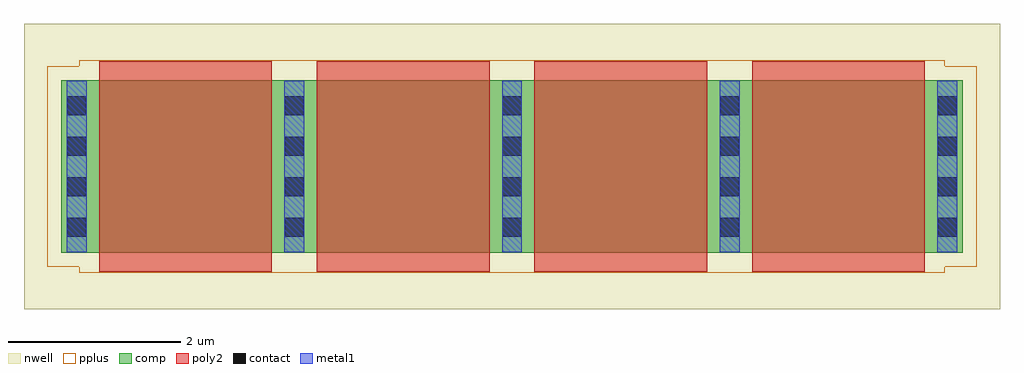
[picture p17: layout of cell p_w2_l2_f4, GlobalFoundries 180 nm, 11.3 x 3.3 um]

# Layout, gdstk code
import gdstk
lib = gdstk.Library(unit=1e-6, precision=1e-09)
def R(c, l, rs):  # rectangles x0, y0, x1, y1
    for r in rs: c.add(gdstk.rectangle(r[:2], r[2:], *l))
def A(c, l, x, y, w, h, nx, ny, dx, dy):  # array of equal rectangles
    R(c, l, [(x+i*dx, y+j*dy, x+i*dx+w, y+j*dy+h) for i in range(nx) for j in range(ny)])
nwell = (21, 0)
comp = (22, 0)
poly2 = (30, 0)
pplus = (31, 0)
contact = (33, 0)
metal1 = (34, 0)

p_w2_l2_f4 = lib.new_cell('p_w2_l2_f4')
R(p_w2_l2_f4, nwell, [(-5.65,-1.65,5.65,1.65)])
R(p_w2_l2_f4, comp, [(-5.22,-1,5.22,1)])
A(p_w2_l2_f4, poly2, -4.78, -1.22, 2, 2.44, 4, 1, 2.52, 0)
R(p_w2_l2_f4, pplus, [(-5.01,-1.23,5.01,-1.16), (-5.38,-1.16,5.38,1.16), (-5.01,1.16,5.01,1.23)])
A(p_w2_l2_f4, contact, -5.15, -0.815, 0.22, 0.22, 5, 4, 2.52, 0.47)
A(p_w2_l2_f4, metal1, -5.155, -0.99, 0.23, 1.98, 5, 1, 2.52, 0)

lib.write_gds('p_w2_l2_f4.gds')
